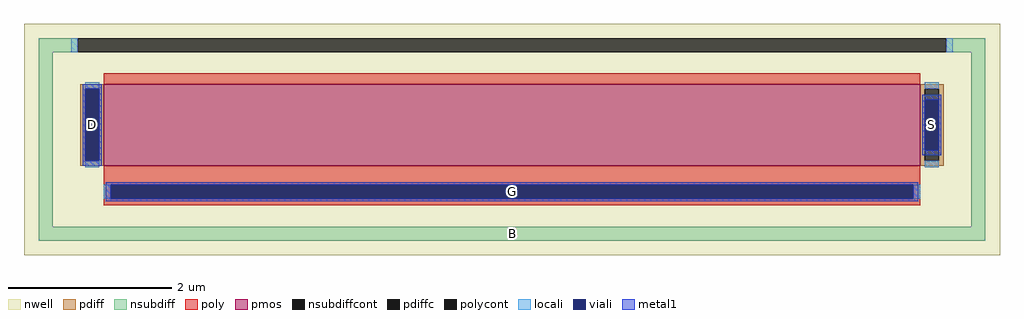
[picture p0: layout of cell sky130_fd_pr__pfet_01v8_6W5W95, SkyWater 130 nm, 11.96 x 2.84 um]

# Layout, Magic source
magic
tech sky130A
magscale 1 2
<< nwell >>
rect -1196 -284 1196 284
<< pmos >>
rect -1000 -64 1000 136
<< pdiff >>
rect -1058 124 -1000 136
rect -1058 -52 -1046 124
rect -1012 -52 -1000 124
rect -1058 -64 -1000 -52
rect 1000 124 1058 136
rect 1000 -52 1012 124
rect 1046 -52 1058 124
rect 1000 -64 1058 -52
<< pdiffc >>
rect -1046 -52 -1012 124
rect 1012 -52 1046 124
<< nsubdiff >>
rect -1160 214 -1064 248
rect 1064 214 1160 248
rect -1160 -214 -1126 214
rect 1126 -214 1160 214
rect -1160 -248 1160 -214
<< nsubdiffcont >>
rect -1064 214 1064 248
<< poly >>
rect -1000 136 1000 162
rect -1000 -111 1000 -64
rect -1000 -145 -984 -111
rect 984 -145 1000 -111
rect -1000 -161 1000 -145
<< polycont >>
rect -984 -145 984 -111
<< locali >>
rect -1080 214 -1064 248
rect 1064 214 1080 248
rect -1046 124 -1012 140
rect -1046 -68 -1012 -52
rect 1012 124 1046 140
rect 1012 -68 1046 -52
rect -1000 -145 -984 -111
rect 984 -145 1000 -111
<< viali >>
rect -1046 -52 -1012 124
rect 1012 -26 1046 98
rect -984 -145 984 -111
<< metal1 >>
rect -1052 124 -1006 136
rect -1052 -52 -1046 124
rect -1012 -52 -1006 124
rect 1006 98 1052 110
rect 1006 -26 1012 98
rect 1046 -26 1052 98
rect 1006 -38 1052 -26
rect -1052 -64 -1006 -52
rect -996 -111 996 -105
rect -996 -145 -984 -111
rect 984 -145 996 -111
rect -996 -151 996 -145
<< labels >>
rlabel nsubdiff 0 -231 0 -231 0 B
port 1 nsew
rlabel pdiffc -1029 36 -1029 36 0 D
port 2 nsew
rlabel pdiffc 1029 36 1029 36 0 S
port 3 nsew
rlabel polycont 0 -128 0 -128 0 G
port 4 nsew
<< properties >>
string FIXED_BBOX -1143 -231 1143 231
string gencell sky130_fd_pr__pfet_01v8
string library sky130
string parameters w 1 l 10 m 1 nf 1 diffcov 100 polycov 100 guard 1 glc 0 grc 0 gtc 1 gbc 0 tbcov 100 rlcov 100 topc 0 botc 1 poverlap 0 doverlap 1 lmin 0.15 wmin 0.42 class mosfet compatible {sky130_fd_pr__pfet_01v8  sky130_fd_pr__pfet_01v8_lvt sky130_fd_pr__pfet_01v8_hvt  sky130_fd_pr__pfet_g5v0d10v5} full_metal 0 viasrc 70 viadrn 100 viagate 100 viagb 0 viagr 0 viagl 0 viagt 0 doports 1
<< end >>
